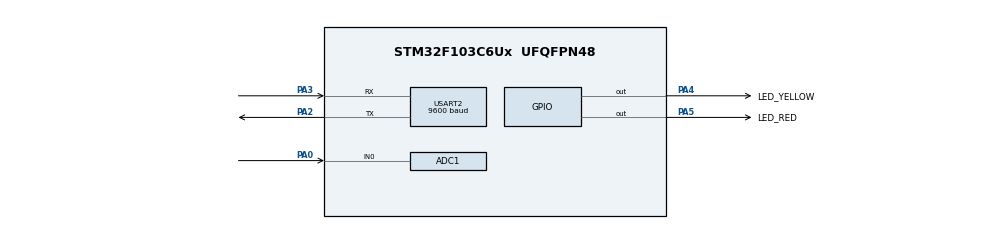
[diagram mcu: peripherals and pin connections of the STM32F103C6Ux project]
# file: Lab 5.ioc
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ADC1.Channel-0\#ChannelRegularConversion=ADC_CHANNEL_0
ADC1.ContinuousConvMode=ENABLE
ADC1.NbrOfConversionFlag=1
ADC1.Rank-0\#ChannelRegularConversion=1
ADC1.SamplingTime-0\#ChannelRegularConversion=ADC_SAMPLETIME_1CYCLE_5
ADC1.master=1
Mcu.Family=STM32F1
Mcu.Name=STM32F103C6Ux
Mcu.Package=UFQFPN48
NVIC.PriorityGroup=NVIC_PRIORITYGROUP_4
NVIC.TIM2_IRQn=true\:0\:0\:false\:false\:true\:true\:true
NVIC.USART2_IRQn=true\:0\:0\:false\:false\:true\:true\:true
PA0-WKUP.Signal=ADCx_IN0
PA2.Mode=Asynchronous
PA2.Signal=USART2_TX
PA3.Mode=Asynchronous
PA3.Signal=USART2_RX
PA4.GPIO_Label=LED_YELLOW
PA4.Signal=GPIO_Output
PA5.GPIO_Label=LED_RED
PA5.Signal=GPIO_Output
PA6.Signal=S_TIM3_CH1
ProjectManager.HeapSize=0x200
ProjectManager.StackSize=0x400
ProjectManager.TargetToolchain=STM32CubeIDE
RCC.APB1Freq_Value=8000000
RCC.APB2Freq_Value=8000000
SH.ADCx_IN0.0=ADC1_IN0,IN0
SH.S_TIM3_CH1.0=TIM3_CH1
TIM2.Period=9
TIM2.Prescaler=7999
USART2.BaudRate=9600
USART2.VirtualMode=VM_ASYNC
VP_SYS_VS_ND.Mode=No_Debug
VP_TIM2_VS_ClockSourceINT.Mode=Internal
board=custom

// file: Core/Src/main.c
/* USER CODE BEGIN Header */
/**
  ******************************************************************************
  * @file           : main.c
  * @brief          : Main program body
  ******************************************************************************
  * @attention
  *
  * <h2><center>&copy; Copyright (c) 2022 STMicroelectronics.
  * All rights reserved.</center></h2>
  *
  * This software component is licensed by ST under BSD 3-Clause license,
  * the "License"; You may not use this file except in compliance with the
  * License. You may obtain a copy of the License at:
  *                        opensource.org/licenses/BSD-3-Clause
  *
  ******************************************************************************
  */
/* USER CODE END Header */
#include "main.h"

/* USER CODE BEGIN Includes */
#include "global.h"
/* USER CODE END Includes */

ADC_HandleTypeDef hadc1;

TIM_HandleTypeDef htim2;

UART_HandleTypeDef huart2;

void SystemClock_Config(void);
static void MX_GPIO_Init(void);
static void MX_ADC1_Init(void);
static void MX_USART2_UART_Init(void);
static void MX_TIM2_Init(void);

/* USER CODE BEGIN 0 */
void Read_Value();
/* USER CODE END 0 */

int main(void)
{

  /* MCU Configuration--------------------------------------------------------*/

  /* Reset of all peripherals, Initializes the Flash interface and the Systick. */
  HAL_Init();

  /* Configure the system clock */
  SystemClock_Config();

  /* Initialize all configured peripherals */
  MX_GPIO_Init();
  MX_ADC1_Init();
  MX_USART2_UART_Init();
  MX_TIM2_Init();
  /* USER CODE BEGIN 2 */
  HAL_TIM_Base_Start_IT(&htim2);

   HAL_ADC_Start(&hadc1);

  HAL_UART_Receive_IT(&huart2, &temp,1);
  /* USER CODE END 2 */

  /* Infinite loop */
  /* USER CODE BEGIN WHILE */
  while (1)
  {
//	  char str[50];
//	  	ADC_value = HAL_ADC_GetValue(&hadc1);
//	  	HAL_UART_Transmit(&huart2, (uint8_t *)str, sprintf(str, "!ADC=%ld#\r\n", ADC_value), 1000);

	  if(buffer_flag == 1||timer1_flag == 1) {
		  if(buffer_flag == 1){
			  buffer_flag = 0;
		  }
		  command_parser_fsm();

	  }
	  read_sensor_fsm();
    /* USER CODE END WHILE */

  }
}

void SystemClock_Config(void)
{
  RCC_OscInitTypeDef RCC_OscInitStruct = {0};
  RCC_ClkInitTypeDef RCC_ClkInitStruct = {0};
  RCC_PeriphCLKInitTypeDef PeriphClkInit = {0};

  /** Initializes the RCC Oscillators according to the specified parameters
  * in the RCC_OscInitTypeDef structure.
  */
  RCC_OscInitStruct.OscillatorType = RCC_OSCILLATORTYPE_HSI;
  RCC_OscInitStruct.HSIState = RCC_HSI_ON;
  RCC_OscInitStruct.HSICalibrationValue = RCC_HSICALIBRATION_DEFAULT;
  RCC_OscInitStruct.PLL.PLLState = RCC_PLL_NONE;
  if (HAL_RCC_OscConfig(&RCC_OscInitStruct) != HAL_OK)
  {
    Error_Handler();
  }
  /** Initializes the CPU, AHB and APB buses clocks
  */
  RCC_ClkInitStruct.ClockType = RCC_CLOCKTYPE_HCLK|RCC_CLOCKTYPE_SYSCLK
                              |RCC_CLOCKTYPE_PCLK1|RCC_CLOCKTYPE_PCLK2;
  RCC_ClkInitStruct.SYSCLKSource = RCC_SYSCLKSOURCE_HSI;
  RCC_ClkInitStruct.AHBCLKDivider = RCC_SYSCLK_DIV1;
  RCC_ClkInitStruct.APB1CLKDivider = RCC_HCLK_DIV1;
  RCC_ClkInitStruct.APB2CLKDivider = RCC_HCLK_DIV1;

  if (HAL_RCC_ClockConfig(&RCC_ClkInitStruct, FLASH_LATENCY_0) != HAL_OK)
  {
    Error_Handler();
  }
  PeriphClkInit.PeriphClockSelection = RCC_PERIPHCLK_ADC;
  PeriphClkInit.AdcClockSelection = RCC_ADCPCLK2_DIV2;
  if (HAL_RCCEx_PeriphCLKConfig(&PeriphClkInit) != HAL_OK)
  {
    Error_Handler();
  }
}

static void MX_ADC1_Init(void)
{

  ADC_ChannelConfTypeDef sConfig = {0};

  /** Common config
  */
  hadc1.Instance = ADC1;
  hadc1.Init.ScanConvMode = ADC_SCAN_DISABLE;
  hadc1.Init.ContinuousConvMode = ENABLE;
  hadc1.Init.DiscontinuousConvMode = DISABLE;
  hadc1.Init.ExternalTrigConv = ADC_SOFTWARE_START;
  hadc1.Init.DataAlign = ADC_DATAALIGN_RIGHT;
  hadc1.Init.NbrOfConversion = 1;
  if (HAL_ADC_Init(&hadc1) != HAL_OK)
  {
    Error_Handler();
  }
  /** Configure Regular Channel
  */
  sConfig.Channel = ADC_CHANNEL_0;
  sConfig.Rank = ADC_REGULAR_RANK_1;
  sConfig.SamplingTime = ADC_SAMPLETIME_1CYCLE_5;
  if (HAL_ADC_ConfigChannel(&hadc1, &sConfig) != HAL_OK)
  {
    Error_Handler();
  }

}

static void MX_TIM2_Init(void)
{

  TIM_ClockConfigTypeDef sClockSourceConfig = {0};
  TIM_MasterConfigTypeDef sMasterConfig = {0};

  htim2.Instance = TIM2;
  htim2.Init.Prescaler = 7999;
  htim2.Init.CounterMode = TIM_COUNTERMODE_UP;
  htim2.Init.Period = 9;
  htim2.Init.ClockDivision = TIM_CLOCKDIVISION_DIV1;
  htim2.Init.AutoReloadPreload = TIM_AUTORELOAD_PRELOAD_DISABLE;
  if (HAL_TIM_Base_Init(&htim2) != HAL_OK)
  {
    Error_Handler();
  }
  sClockSourceConfig.ClockSource = TIM_CLOCKSOURCE_INTERNAL;
  if (HAL_TIM_ConfigClockSource(&htim2, &sClockSourceConfig) != HAL_OK)
  {
    Error_Handler();
  }
  sMasterConfig.MasterOutputTrigger = TIM_TRGO_RESET;
  sMasterConfig.MasterSlaveMode = TIM_MASTERSLAVEMODE_DISABLE;
  if (HAL_TIMEx_MasterConfigSynchronization(&htim2, &sMasterConfig) != HAL_OK)
  {
    Error_Handler();
  }

}

static void MX_USART2_UART_Init(void)
{

  huart2.Instance = USART2;
  huart2.Init.BaudRate = 9600;
  huart2.Init.WordLength = UART_WORDLENGTH_8B;
  huart2.Init.StopBits = UART_STOPBITS_1;
  huart2.Init.Parity = UART_PARITY_NONE;
  huart2.Init.Mode = UART_MODE_TX_RX;
  huart2.Init.HwFlowCtl = UART_HWCONTROL_NONE;
  huart2.Init.OverSampling = UART_OVERSAMPLING_16;
  if (HAL_UART_Init(&huart2) != HAL_OK)
  {
    Error_Handler();
  }

}

static void MX_GPIO_Init(void)
{
  GPIO_InitTypeDef GPIO_InitStruct = {0};

  /* GPIO Ports Clock Enable */
  __HAL_RCC_GPIOA_CLK_ENABLE();

  /*Configure GPIO pin Output Level */
  HAL_GPIO_WritePin(GPIOA, LED_YELLOW_Pin|LED_RED_Pin, GPIO_PIN_RESET);

  /*Configure GPIO pins : LED_YELLOW_Pin LED_RED_Pin */
  GPIO_InitStruct.Pin = LED_YELLOW_Pin|LED_RED_Pin;
  GPIO_InitStruct.Mode = GPIO_MODE_OUTPUT_PP;
  GPIO_InitStruct.Pull = GPIO_NOPULL;
  GPIO_InitStruct.Speed = GPIO_SPEED_FREQ_LOW;
  HAL_GPIO_Init(GPIOA, &GPIO_InitStruct);

  /*Configure GPIO pin : PA6 */
  GPIO_InitStruct.Pin = GPIO_PIN_6;
  GPIO_InitStruct.Mode = GPIO_MODE_AF_PP;
  GPIO_InitStruct.Speed = GPIO_SPEED_FREQ_LOW;
  HAL_GPIO_Init(GPIOA, &GPIO_InitStruct);

}

/* USER CODE BEGIN 4 */
void Read_Value(){
	char str[50];
 	ADC_value = HAL_ADC_GetValue(&hadc1);
	HAL_UART_Transmit(&huart2, (uint8_t *)str, sprintf(str, "!ADC=%d#\r\n", ADC_value), 1000);
}
void HAL_TIM_PeriodElapsedCallback ( TIM_HandleTypeDef * htim )
{
	timerRun(); //every 10ms
}
void HAL_UART_RxCpltCallback(UART_HandleTypeDef *huart){
	if(huart->Instance == USART2){
		updateBuffer(temp);
		//HAL_GPIO_TogglePin(LED_YELLOW_GPIO_Port, LED_YELLOW_Pin);
		buffer_flag = 1;
		HAL_UART_Transmit(&huart2, &temp, 1, 50); //output to the screen
		HAL_UART_Receive_IT(&huart2, &temp, 1);//receive input
	}
}
/* USER CODE END 4 */

void Error_Handler(void)
{
  __disable_irq();
  while (1)
  {
  }
}

/************************ (C) COPYRIGHT STMicroelectronics *****END OF FILE****/
